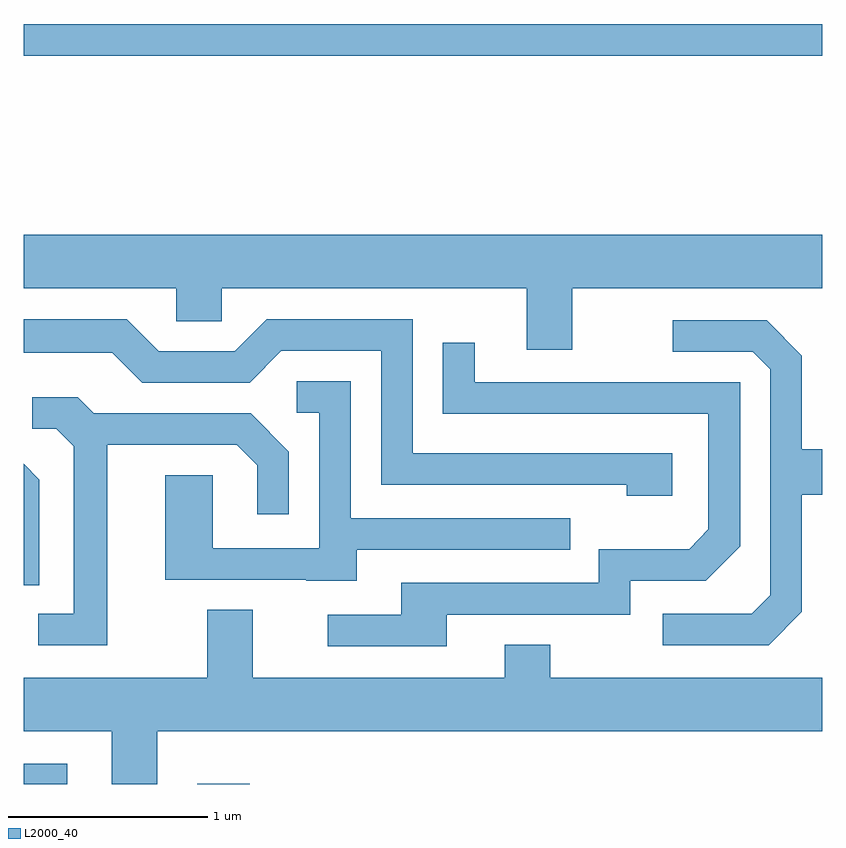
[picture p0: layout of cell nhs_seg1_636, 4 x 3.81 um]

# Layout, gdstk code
import gdstk
lib = gdstk.Library(unit=1e-6, precision=1e-09)
def R(c, l, rs):  # rectangles x0, y0, x1, y1
    for r in rs: c.add(gdstk.rectangle(r[:2], r[2:], *l))
def P(c, l, *ps):  # polygons
    for p in ps: c.add(gdstk.Polygon(p, *l))
L2000_40 = (2000, 40)

nhs_seg1_636 = lib.new_cell('nhs_seg1_636')
R(nhs_seg1_636, L2000_40, [(203.611,943.712,203.828,943.814), (204.481,943.712,204.744,943.714), (203.611,947.361,207.611,947.519)])
P(nhs_seg1_636, L2000_40, [(206.359,946.196),(207.611,946.196),(207.611,946.464),(203.611,946.464),(203.611,946.196),(204.376,946.196),(204.376,946.031),(204.604,946.031),(204.604,946.196),(206.131,946.196),(206.131,945.886),(206.359,945.886)],
  [(206.859,945.369),(205.559,945.369),(205.559,946.039),(204.829,946.039),(204.669,945.879),(204.287,945.879),(204.127,946.039),(203.611,946.039),(203.611,945.871),(204.054,945.871),(204.204,945.721),(204.742,945.721),(204.902,945.881),(205.401,945.881),(205.401,945.211),(206.631,945.211),(206.631,945.156),(206.859,945.156)],
  [(207.509,944.574),(207.509,945.161),(207.611,945.161),(207.611,945.389),(207.509,945.389),(207.509,945.857),(207.332,946.034),(206.863,946.034),(206.863,945.876),(207.264,945.876),(207.351,945.789),(207.351,944.657),(207.259,944.564),(206.813,944.564),(206.813,944.406),(207.342,944.406)],
  [(205.729,944.561),(206.649,944.561),(206.649,944.731),(207.027,944.731),(207.199,944.904),(207.199,945.724),(205.869,945.724),(205.869,945.923),(205.711,945.923),(205.711,945.566),(207.041,945.566),(207.041,944.987),(206.944,944.889),(206.491,944.889),(206.491,944.719),(205.501,944.719),(205.501,944.559),(205.133,944.559),(205.133,944.401),(205.729,944.401)],
  [(205.279,944.886),(206.348,944.886),(206.348,945.044),(205.249,945.044),(205.249,945.729),(204.978,945.729),(204.978,945.571),(205.091,945.571),(205.091,944.894),(204.559,944.894),(204.559,945.259),(204.321,945.259),(204.321,944.736),(205.025,944.736),(205.025,944.731),(205.279,944.731)],
  [(204.029,945.411),(204.679,945.411),(204.781,945.309),(204.781,945.063),(204.939,945.063),(204.939,945.377),(204.747,945.569),(203.962,945.569),(203.882,945.649),(203.653,945.649),(203.653,945.491),(203.774,945.491),(203.861,945.404),(203.861,944.564),(203.683,944.564),(203.683,944.406),(204.029,944.406)],
  [(203.689,945.237),(203.611,945.315),(203.611,944.708),(203.689,944.708)],
  [(204.279,943.976),(207.611,943.976),(207.611,944.244),(206.249,944.244),(206.249,944.409),(206.021,944.409),(206.021,944.244),(204.759,944.244),(204.759,944.584),(204.531,944.584),(204.531,944.244),(203.611,944.244),(203.611,943.976),(204.051,943.976),(204.051,943.712),(204.279,943.712)])

lib.write_gds('nhs_seg1_636.gds')
